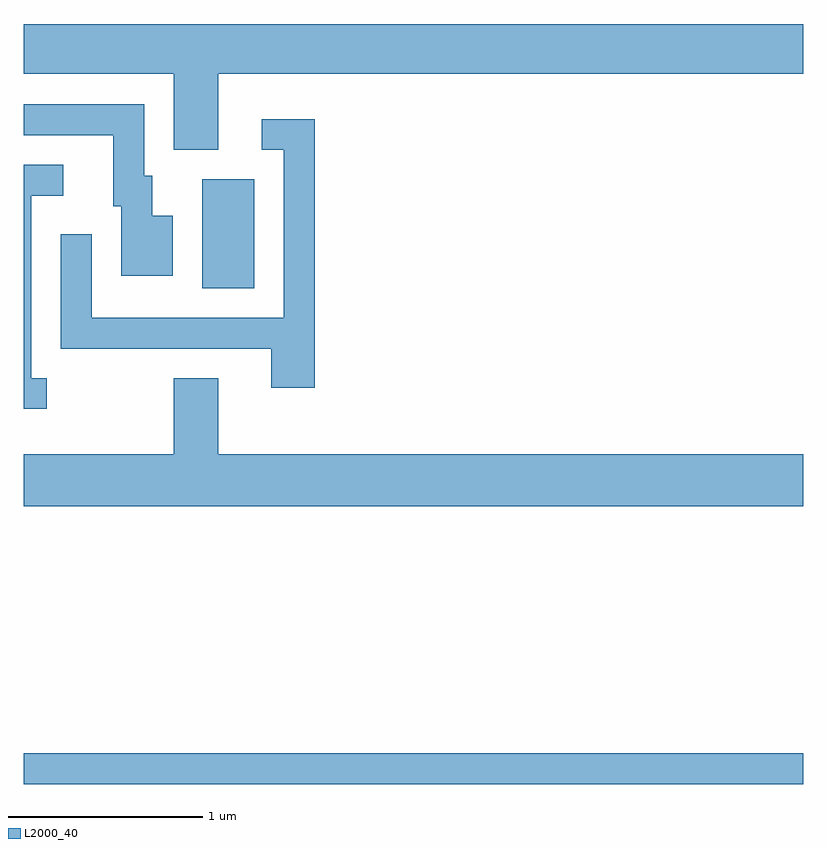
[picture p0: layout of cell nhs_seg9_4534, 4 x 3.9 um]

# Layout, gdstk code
import gdstk
lib = gdstk.Library(unit=1e-6, precision=1e-09)
def R(c, l, rs):  # rectangles x0, y0, x1, y1
    for r in rs: c.add(gdstk.rectangle(r[:2], r[2:], *l))
def P(c, l, *ps):  # polygons
    for p in ps: c.add(gdstk.Polygon(p, *l))
L2000_40 = (2000, 40)

nhs_seg9_4534 = lib.new_cell('nhs_seg9_4534')
R(nhs_seg9_4534, L2000_40, [(317.611,2072.531,321.611,2072.689), (318.526,2075.076,318.794,2075.634)])
P(nhs_seg9_4534, L2000_40, [(318.609,2076.176),(321.611,2076.176),(321.611,2076.432),(317.611,2076.432),(317.611,2076.176),(318.381,2076.176),(318.381,2075.786),(318.609,2075.786)],
  [(318.374,2075.449),(318.269,2075.449),(318.269,2075.654),(318.229,2075.654),(318.229,2076.019),(317.611,2076.019),(317.611,2075.861),(318.071,2075.861),(318.071,2075.496),(318.111,2075.496),(318.111,2075.141),(318.374,2075.141)],
  [(319.104,2075.944),(318.833,2075.944),(318.833,2075.786),(318.946,2075.786),(318.946,2074.924),(317.959,2074.924),(317.959,2075.353),(317.801,2075.353),(317.801,2074.766),(318.881,2074.766),(318.881,2074.566),(319.104,2074.566)],
  [(317.728,2074.614),(317.649,2074.614),(317.649,2075.551),(317.813,2075.551),(317.813,2075.709),(317.611,2075.709),(317.611,2074.456),(317.728,2074.456)],
  [(321.611,2074.224),(318.609,2074.224),(318.609,2074.614),(318.381,2074.614),(318.381,2074.224),(317.611,2074.224),(317.611,2073.956),(321.611,2073.956)])

lib.write_gds('nhs_seg9_4534.gds')
